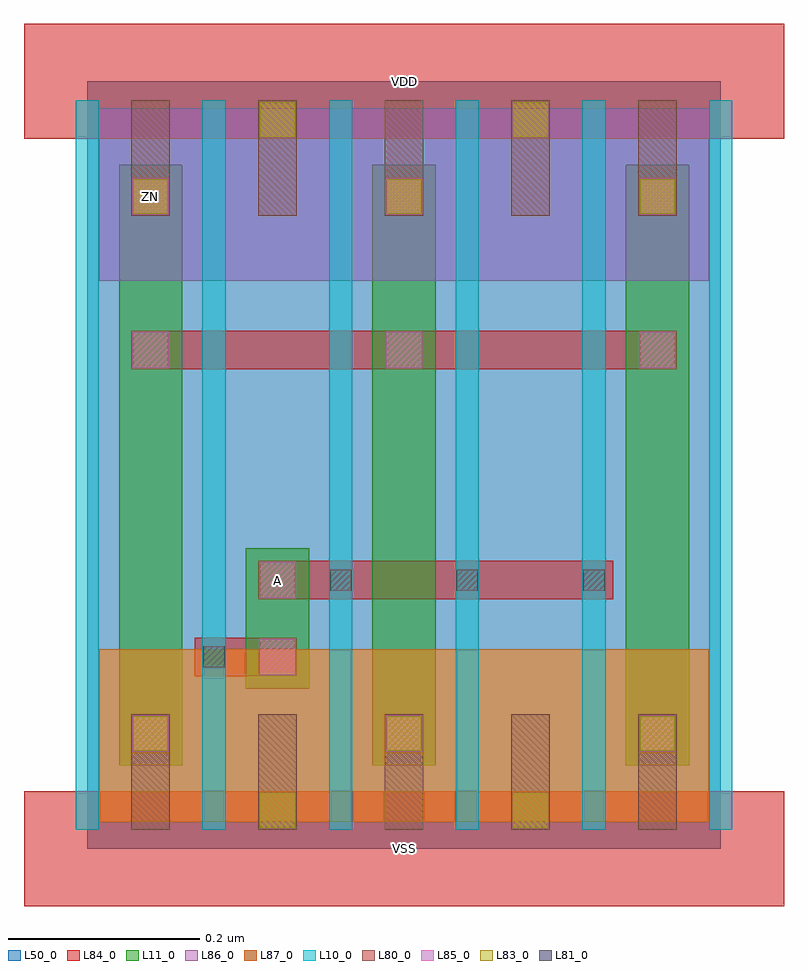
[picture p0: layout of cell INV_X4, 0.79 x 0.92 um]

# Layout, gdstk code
import gdstk
lib = gdstk.Library(unit=1e-6, precision=1e-09)
def R(c, l, rs):  # rectangles x0, y0, x1, y1
    for r in rs: c.add(gdstk.rectangle(r[:2], r[2:], *l))
def A(c, l, x, y, w, h, nx, ny, dx, dy):  # array of equal rectangles
    R(c, l, [(x+i*dx, y+j*dy, x+i*dx+w, y+j*dy+h) for i in range(nx) for j in range(ny)])
L10_0 = (10, 0)
L11_0 = (11, 0)
L50_0 = (50, 0)
L80_0 = (80, 0)
L81_0 = (81, 0)
L83_0 = (83, 0)
L84_0 = (84, 0)
L85_0 = (85, 0)
L86_0 = (86, 0)
L87_0 = (87, 0)

inv_x4 = lib.new_cell('INV_X4')
A(inv_x4, L10_0, -0.012, 0.02, 0.024, 0.76, 6, 1, 0.132, 0)
A(inv_x4, L11_0, 0.033, 0.087, 0.066, 0.626, 3, 1, 0.264, 0)
R(inv_x4, L11_0, [(0.165,0.167,0.231,0.313)])
R(inv_x4, L50_0, [(0,0,0.66,0.8)])
A(inv_x4, L80_0, 0.046, 0.02, 0.04, 0.12, 5, 2, 0.132, 0.64)
A(inv_x4, L81_0, 0.253, 0.269, 0.022, 0.022, 3, 1, 0.132, 0)
R(inv_x4, L81_0, [(0.121,0.189,0.143,0.211)])
A(inv_x4, L83_0, 0.048, 0.102, 0.036, 0.036, 3, 2, 0.264, 0.56)
R(inv_x4, L83_0, [(0.18,0.022,0.216,0.058), (0.444,0.022,0.48,0.058), (0.18,0.742,0.216,0.778), (0.444,0.742,0.48,0.778)])
A(inv_x4, L84_0, 0.046, 0.1, 0.04, 0.04, 3, 2, 0.264, 0.56)
R(inv_x4, L84_0, [(-0.066,-0.06,0.726,0.06), (0.112,0.18,0.218,0.22), (0.178,0.26,0.548,0.3), (0.046,0.5,0.614,0.54), (-0.066,0.74,0.726,0.86)])
A(inv_x4, L85_0, 0.047, 0.101, 0.038, 0.038, 3, 2, 0.264, 0.4)
A(inv_x4, L85_0, 0.047, 0.661, 0.038, 0.038, 3, 1, 0.264, 0)
R(inv_x4, L85_0, [(0.179,0.181,0.217,0.219), (0.179,0.261,0.217,0.299)])
R(inv_x4, L86_0, [(0.012,0.592,0.648,0.772)])
R(inv_x4, L87_0, [(0.012,0.028,0.648,0.208)])
inv_x4.add(gdstk.Label('VDD', (0.33,0.8), layer=88, texttype=0))
inv_x4.add(gdstk.Label('VSS', (0.33,0), layer=88, texttype=0))
inv_x4.add(gdstk.Label('ZN', (0.066,0.68), layer=31, texttype=0))
inv_x4.add(gdstk.Label('A', (0.198,0.28), layer=31, texttype=0))

lib.write_gds('INV_X4.gds')
